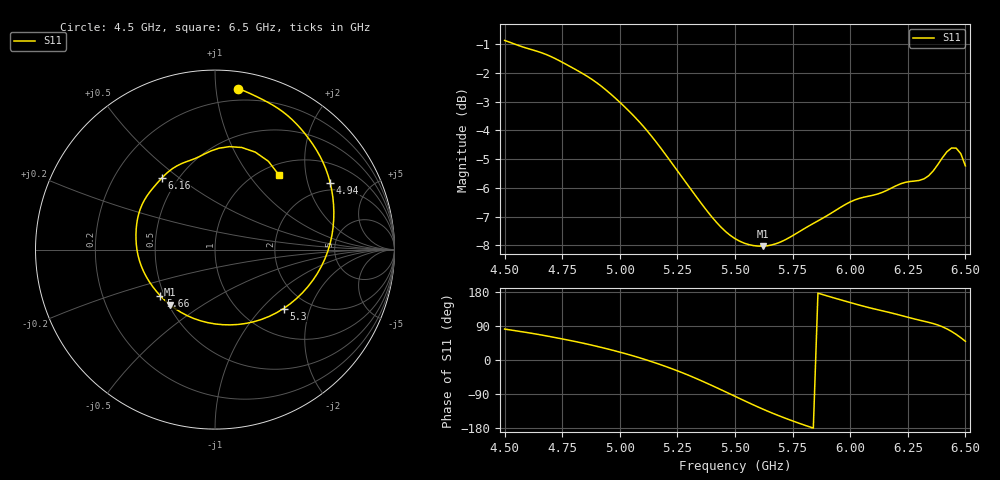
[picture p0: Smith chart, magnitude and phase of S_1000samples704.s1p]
! TOUCHSTONE file generated by CST MICROWAVE STUDIO
! Date and time: Sat Oct 29 02:24:01 2022
! Project name: L.cst
! Parameters = {Di=1.27; Epsilon_r=1.56; InnerDiameter=1.27; Length=2; Lf=10; Lg=60; OuterConductorThickness=0.2921; OuterDiameter=3.6; Wf=3; Wp=41.2; de=1.5; df=6.8; g=0.8; gx=4.23507; gy=2.42221; h=2.34; hf=1.524; px=14.1073; py=12.6689; w=9.7; wx=9.8722; wy=10.2467}
! Header version: 2018
! Port assignment regex: !\s*Touchstone port\s*([0-9]+)\s*=\s*(CST MWS port|CST DS port)\s*([0-9]+|Zmin|Zmax)\s*\(\"(.*)\"\)(\s*mode\s*([0-9]+))?.*
! Touchstone port assignment:
! Touchstone port 1 = CST MWS port 1 ("")
# GHz S DB R 50
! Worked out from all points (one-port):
!   101 points, 4.5 GHz to 6.5 GHz, reference 50 ohm
!   lowest |S11| = -8.0 dB at 5.62 GHz (marker M1), VSWR 2.32, Z = 25.4 - j18.5 ohm
!   |S11| at or under -10 dB: nowhere
!   S11 on the Smith chart (normalised r, x): 4.5 GHz: 0.12, +1.15; 4.94 GHz: 1.68, +2.79; 5.3 GHz: 1.52, -1.34; 5.66 GHz: 0.48, -0.29; 6.16 GHz: 0.41, +0.43; 6.5 GHz: 1.19, +1.42
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4.5  -0.87 81.7
4.64  -1.24 68.1
4.76  -1.67 54.4
4.86  -2.12 41.7
4.94  -2.59 30.2
5  -3.02 20.8
5.06  -3.49 10.5
5.12  -4.03 -0.7
5.18  -4.64 -13.0
5.26  -5.52 -30.9
5.3  -5.96 -40.7
5.36  -6.61 -56.4
5.4  -7.02 -67.4
5.5  -7.77 -95.8
5.56  -7.98 -112.9
5.62  -8.03 -129.4
5.66  -7.99 -139.6
5.76  -7.62 -162.9
5.88  -7.06 172.7
6  -6.49 151.6
6.16  -6.08 126.9
6.26  -5.78 111.3
6.38  -5.19 92.4
6.4  -4.95 87.7
6.44  -4.61 75.3
6.46  -4.62 67.6
6.48  -4.81 58.9
6.5  -5.24 49.4
